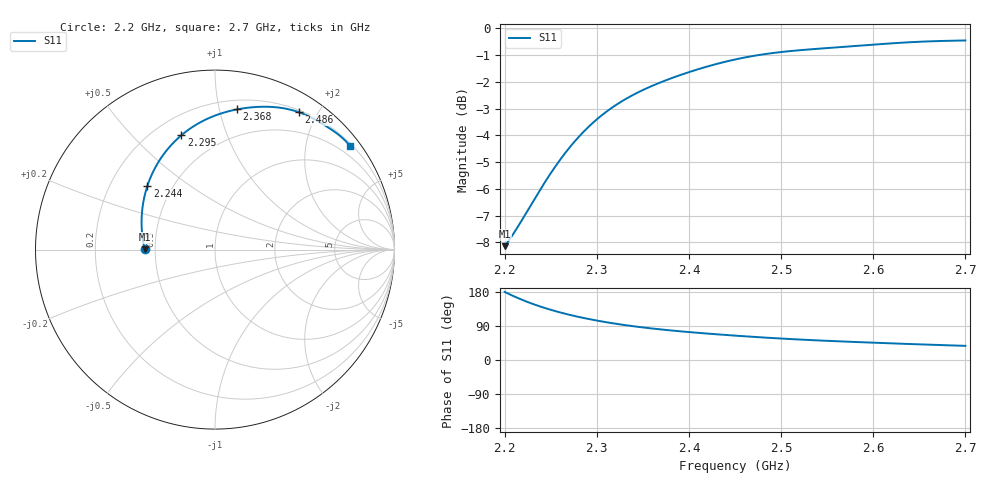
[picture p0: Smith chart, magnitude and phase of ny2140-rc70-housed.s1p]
! PRELIMINARY bare PCB unless shell_eps > 0; see README.md
! L220 output ($1N324); all Gerber copper, components omitted (C216/L220/C217 not populated)
# Hz S RI R 50
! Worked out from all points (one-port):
!   501 points, 2.2 GHz to 2.7 GHz, reference 50 ohm
!   lowest |S11| = -8.1 dB at 2.2 GHz (marker M1), VSWR 2.29, Z = 21.9 + j0.1 ohm
!   |S11| at or under -10 dB: nowhere
!   S11 on the Smith chart (normalised r, x): 2.2 GHz: 0.44, +0.00; 2.244 GHz: 0.36, +0.35; 2.295 GHz: 0.31, +0.70; 2.368 GHz: 0.27, +1.13; 2.486 GHz: 0.23, +1.76; 2.7 GHz: 0.25, +2.94
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2.2e9  -0.3917 0.00194
2.202e9  -0.3953 0.0184
2.211e9  -0.4064 0.0928
2.222e9  -0.4084 0.1831
2.233e9  -0.3984 0.2704
2.244e9  -0.3775 0.3528
2.253e9  -0.3534 0.4155
2.263e9  -0.3204 0.4792
2.271e9  -0.2903 0.5254
2.279e9  -0.2576 0.5671
2.287e9  -0.223 0.6043
2.295e9  -0.1872 0.6371
2.31e9  -0.1188 0.6874
2.325e9  -0.0513 0.7248
2.335e9  -0.00782 0.7437
2.345e9  0.034 0.7586
2.368e9  0.1232 0.7813
2.388e9  0.1934 0.7916
2.419e9  0.2914 0.7959
2.45e9  0.3791 0.788
2.468e9  0.4251 0.7783
2.486e9  0.4671 0.7655
2.513e9  0.5219 0.7427
2.541e9  0.5695 0.7175
2.575e9  0.6185 0.6881
2.638e9  0.6963 0.6337
2.67e9  0.729 0.6038
2.7e9  0.7543 0.576
